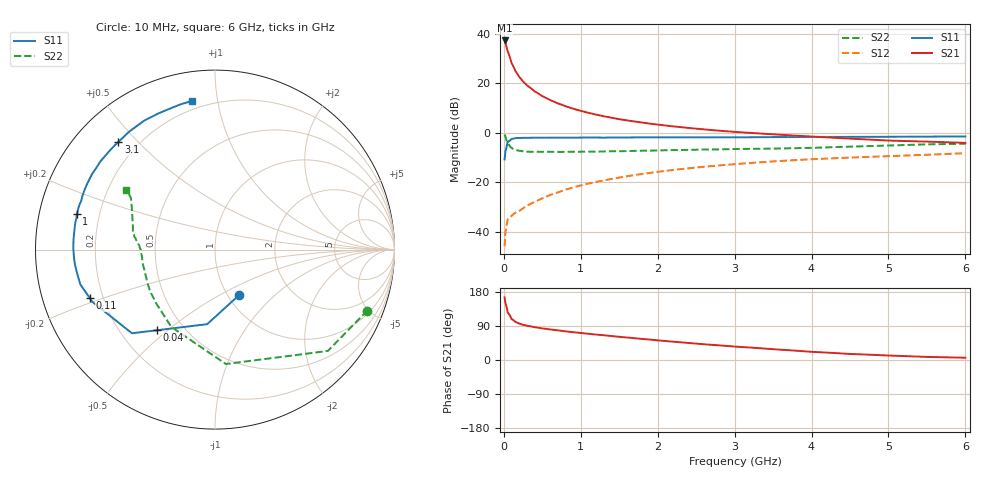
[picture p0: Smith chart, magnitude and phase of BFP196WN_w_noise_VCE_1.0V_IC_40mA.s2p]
! Infineon Technologies  Discrete & RF Semiconductors
! BFP196WN
! VCE =  1.0 V,  IC =  40 mA
! Common Emitter S-Parameters:  Jan 2017
# GHz  S  MA  R  50
!  f  S11  S21  S12  S22
! GHz  MAG  ANG  MAG  ANG  MAG  ANG  MAG  ANG
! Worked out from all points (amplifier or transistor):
!   77 points, 10 MHz to 6 GHz, reference 50 ohm
!   highest |S21| = 37.2 dB at 10 MHz (marker M1)
!   |S21| within 3 dB of that: start of sweep to 37.58 MHz
!   unconditionally stable (mu >= 1): 599.8 MHz to 3.217 GHz
!   at 130 MHz: K = 0.52, MSG = 29.6 dB, |S12| = -32.8 dB
!   at 2.2 GHz: K = 1.03, MAG = 7.7 dB, |S12| = -15.1 dB
!   at 6 GHz: K = 0.95, MSG = 2.1 dB, |S12| = -8.3 dB
!   lowest NFmin = 1.16 dB at 450 MHz
!   S11 on the Smith chart (normalised r, x): 10 MHz: 1.12, -0.62; 40 MHz: 0.36, -0.46; 110 MHz: 0.15, -0.18; 1 GHz: 0.12, +0.13; 3.1 GHz: 0.13, +0.44; 6 GHz: 0.15, +0.84
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0.01  0.2875 -62.6  72.67 165.2  0.0051 74.2  0.9142 -21.8
0.02  0.4179 -96.0  64.97 150.8  0.0095 67.9  0.8451 -41.9
0.04  0.5533 -125.7  49.81 135.9  0.0148 50.7  0.6621 -67.8
0.05  0.6567 -134.8  44.12 125.0  0.0177 46.2  0.6403 -84.6
0.1  0.7424 -156.9  25.51 108.1  0.0209 42.1  0.4946 -119.5
0.11  0.7475 -158.7  23.92 107.0  0.0216 42.4  0.4813 -122.7
0.15  0.775 -165.5  17.69 100.7  0.0242 43.6  0.445 -136.9
0.2  0.7804 -170.8  13.42 96.1  0.0262 47.6  0.4301 -146.9
0.25  0.785 -174.2  10.81 92.9  0.0297 50.7  0.4203 -153.2
0.3  0.787 -176.8  9.045 90.5  0.0334 53.1  0.4134 -158.2
0.4  0.7897 179.3  6.826 86.5  0.0401 57.6  0.4094 -163.9
0.5  0.7901 176.3  5.466 83.4  0.047 60.6  0.41 -168.0
0.6  0.7902 173.6  4.57 80.7  0.055 63.2  0.4102 -171.0
0.8  0.7926 169.2  3.431 75.7  0.0706 65.7  0.4092 -174.9
1  0.795 165.5  2.756 71.3  0.086 65.4  0.4124 -177.8
1.1  0.795 163.6  2.51 69.2  0.0939 65.7  0.4131 -179.1
1.5  0.7976 156.8  1.872 61.2  0.1238 64.1  0.4216 177.1
2.1  0.8031 147.1  1.395 50.1  0.1689 60.2  0.4405 173.3
3.1  0.8062 131.9  1.013 34.2  0.2372 51.5  0.4688 167.3
4.1  0.8194 117.5  0.819 20.6  0.2949 42.7  0.4985 157.6
5.1  0.826 106.7  0.685 11.1  0.3391 35.0  0.5554 148.1
6  0.8381 98.9  0.621 6.0  0.3848 29.1  0.5965 145.9
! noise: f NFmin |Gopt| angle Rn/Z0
0.45  1.16  0.5  -179  0.04
0.9  1.29  0.54  -173  0.05
1.9  2.21  0.68  -148  0.13
2.4  2.95  0.69  -141  0.26
